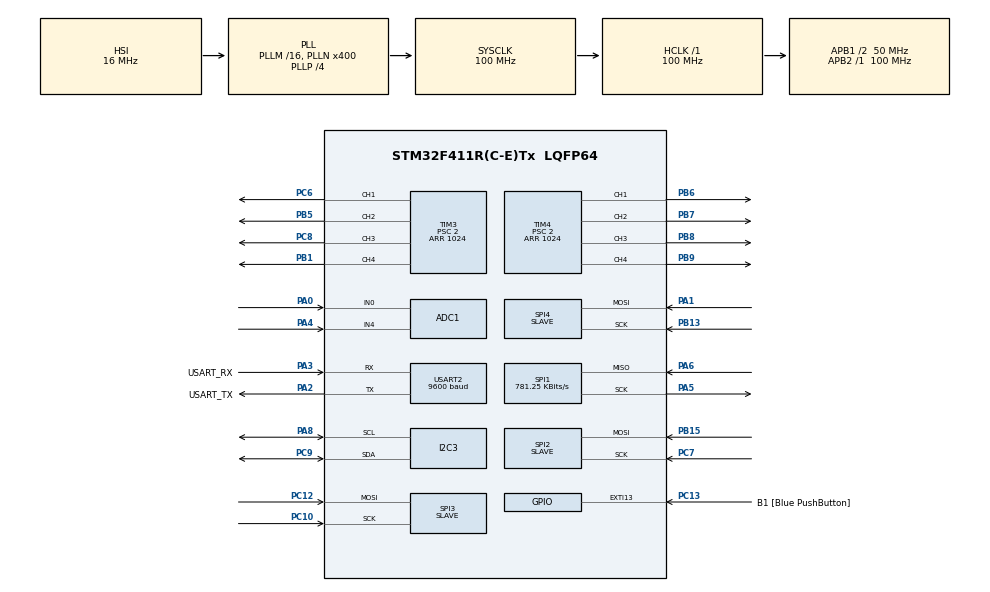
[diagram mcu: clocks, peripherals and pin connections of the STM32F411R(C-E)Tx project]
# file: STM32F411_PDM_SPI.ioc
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ADC1.Channel-0\#ChannelRegularConversion=ADC_CHANNEL_0
ADC1.NbrOfConversionFlag=1
ADC1.Rank-0\#ChannelRegularConversion=1
ADC1.SamplingTime-0\#ChannelRegularConversion=ADC_SAMPLETIME_3CYCLES
ADC1.master=1
Dma.I2C3_RX.4.Direction=DMA_PERIPH_TO_MEMORY
Dma.I2C3_RX.4.FIFOMode=DMA_FIFOMODE_DISABLE
Dma.I2C3_RX.4.Instance=DMA1_Stream1
Dma.I2C3_RX.4.MemDataAlignment=DMA_MDATAALIGN_BYTE
Dma.I2C3_RX.4.MemInc=DMA_MINC_ENABLE
Dma.I2C3_RX.4.Mode=DMA_NORMAL
Dma.I2C3_RX.4.PeriphDataAlignment=DMA_PDATAALIGN_BYTE
Dma.I2C3_RX.4.PeriphInc=DMA_PINC_DISABLE
Dma.I2C3_RX.4.Priority=DMA_PRIORITY_LOW
Dma.I2C3_TX.5.Direction=DMA_MEMORY_TO_PERIPH
Dma.I2C3_TX.5.FIFOMode=DMA_FIFOMODE_DISABLE
Dma.I2C3_TX.5.Instance=DMA1_Stream4
Dma.I2C3_TX.5.MemDataAlignment=DMA_MDATAALIGN_BYTE
Dma.I2C3_TX.5.MemInc=DMA_MINC_ENABLE
Dma.I2C3_TX.5.Mode=DMA_NORMAL
Dma.I2C3_TX.5.PeriphDataAlignment=DMA_PDATAALIGN_BYTE
Dma.I2C3_TX.5.PeriphInc=DMA_PINC_DISABLE
Dma.I2C3_TX.5.Priority=DMA_PRIORITY_LOW
Dma.Request0=SPI1_RX
Dma.Request1=SPI2_RX
Dma.Request2=SPI3_RX
Dma.Request3=SPI4_RX
Dma.Request4=I2C3_RX
Dma.Request5=I2C3_TX
Dma.Request6=USART2_RX
Dma.Request7=USART2_TX
Dma.SPI1_RX.0.Direction=DMA_PERIPH_TO_MEMORY
Dma.SPI1_RX.0.FIFOMode=DMA_FIFOMODE_DISABLE
Dma.SPI1_RX.0.Instance=DMA2_Stream0
Dma.SPI1_RX.0.MemDataAlignment=DMA_MDATAALIGN_BYTE
Dma.SPI1_RX.0.MemInc=DMA_MINC_ENABLE
Dma.SPI1_RX.0.Mode=DMA_CIRCULAR
Dma.SPI1_RX.0.PeriphDataAlignment=DMA_PDATAALIGN_BYTE
Dma.SPI1_RX.0.PeriphInc=DMA_PINC_DISABLE
Dma.SPI1_RX.0.Priority=DMA_PRIORITY_VERY_HIGH
Dma.SPI2_RX.1.Direction=DMA_PERIPH_TO_MEMORY
Dma.SPI2_RX.1.FIFOMode=DMA_FIFOMODE_DISABLE
Dma.SPI2_RX.1.Instance=DMA1_Stream3
Dma.SPI2_RX.1.MemDataAlignment=DMA_MDATAALIGN_BYTE
Dma.SPI2_RX.1.MemInc=DMA_MINC_ENABLE
Dma.SPI2_RX.1.Mode=DMA_CIRCULAR
Dma.SPI2_RX.1.PeriphDataAlignment=DMA_PDATAALIGN_BYTE
Dma.SPI2_RX.1.PeriphInc=DMA_PINC_DISABLE
Dma.SPI2_RX.1.Priority=DMA_PRIORITY_HIGH
Dma.SPI3_RX.2.Direction=DMA_PERIPH_TO_MEMORY
Dma.SPI3_RX.2.FIFOMode=DMA_FIFOMODE_DISABLE
Dma.SPI3_RX.2.Instance=DMA1_Stream0
Dma.SPI3_RX.2.MemDataAlignment=DMA_MDATAALIGN_BYTE
Dma.SPI3_RX.2.MemInc=DMA_MINC_ENABLE
Dma.SPI3_RX.2.Mode=DMA_CIRCULAR
Dma.SPI3_RX.2.PeriphDataAlignment=DMA_PDATAALIGN_BYTE
Dma.SPI3_RX.2.PeriphInc=DMA_PINC_DISABLE
Dma.SPI3_RX.2.Priority=DMA_PRIORITY_HIGH
Dma.SPI4_RX.3.Direction=DMA_PERIPH_TO_MEMORY
Dma.SPI4_RX.3.FIFOMode=DMA_FIFOMODE_DISABLE
Dma.SPI4_RX.3.Instance=DMA2_Stream3
Dma.SPI4_RX.3.MemDataAlignment=DMA_MDATAALIGN_BYTE
Dma.SPI4_RX.3.MemInc=DMA_MINC_ENABLE
Dma.SPI4_RX.3.Mode=DMA_CIRCULAR
Dma.SPI4_RX.3.PeriphDataAlignment=DMA_PDATAALIGN_BYTE
Dma.SPI4_RX.3.PeriphInc=DMA_PINC_DISABLE
Dma.SPI4_RX.3.Priority=DMA_PRIORITY_HIGH
Dma.USART2_RX.6.Direction=DMA_PERIPH_TO_MEMORY
Dma.USART2_RX.6.FIFOMode=DMA_FIFOMODE_DISABLE
Dma.USART2_RX.6.Instance=DMA1_Stream5
Dma.USART2_RX.6.MemDataAlignment=DMA_MDATAALIGN_BYTE
Dma.USART2_RX.6.MemInc=DMA_MINC_ENABLE
Dma.USART2_RX.6.Mode=DMA_NORMAL
Dma.USART2_RX.6.PeriphDataAlignment=DMA_PDATAALIGN_BYTE
Dma.USART2_RX.6.PeriphInc=DMA_PINC_DISABLE
Dma.USART2_RX.6.Priority=DMA_PRIORITY_LOW
Dma.USART2_TX.7.Direction=DMA_MEMORY_TO_PERIPH
Dma.USART2_TX.7.FIFOMode=DMA_FIFOMODE_DISABLE
Dma.USART2_TX.7.Instance=DMA1_Stream6
Dma.USART2_TX.7.MemDataAlignment=DMA_MDATAALIGN_BYTE
Dma.USART2_TX.7.MemInc=DMA_MINC_ENABLE
Dma.USART2_TX.7.Mode=DMA_NORMAL
Dma.USART2_TX.7.PeriphDataAlignment=DMA_PDATAALIGN_BYTE
Dma.USART2_TX.7.PeriphInc=DMA_PINC_DISABLE
Dma.USART2_TX.7.Priority=DMA_PRIORITY_LOW
I2C3.OwnAddress=0x60
Mcu.Family=STM32F4
Mcu.Name=STM32F411R(C-E)Tx
Mcu.Package=LQFP64
NVIC.DMA1_Stream0_IRQn=true\:0\:0\:false\:false\:true\:false\:true
NVIC.DMA1_Stream1_IRQn=true\:0\:0\:false\:false\:true\:false\:true
NVIC.DMA1_Stream3_IRQn=true\:0\:0\:false\:false\:true\:false\:true
NVIC.DMA1_Stream4_IRQn=true\:0\:0\:false\:false\:true\:false\:true
NVIC.DMA1_Stream5_IRQn=true\:0\:0\:false\:false\:true\:false\:true
NVIC.DMA1_Stream6_IRQn=true\:0\:0\:false\:false\:true\:false\:true
NVIC.DMA2_Stream0_IRQn=true\:0\:0\:false\:false\:true\:false\:true
NVIC.DMA2_Stream3_IRQn=true\:0\:0\:false\:false\:true\:false\:true
NVIC.I2C3_ER_IRQn=true\:0\:0\:false\:false\:true\:true\:true
NVIC.I2C3_EV_IRQn=true\:0\:0\:false\:false\:true\:true\:true
NVIC.PriorityGroup=NVIC_PRIORITYGROUP_0
NVIC.SPI1_IRQn=true\:0\:0\:false\:false\:true\:true\:true
NVIC.SPI2_IRQn=true\:0\:0\:false\:false\:true\:true\:true
NVIC.SPI3_IRQn=true\:0\:0\:false\:false\:true\:true\:true
NVIC.SPI4_IRQn=true\:0\:0\:false\:false\:true\:true\:true
NVIC.TIM3_IRQn=true\:0\:0\:false\:false\:true\:true\:true
NVIC.TIM4_IRQn=true\:0\:0\:false\:false\:true\:true\:true
NVIC.USART2_IRQn=true\:0\:0\:false\:false\:true\:true\:true
PA0-WKUP.Signal=ADCx_IN0
PA1.Mode=RX_Only_Simplex_Unidirect_Slave
PA1.Signal=SPI4_MOSI
PA13.GPIO_Label=TMS
PA13.Mode=Serial_Wire
PA13.Signal=SYS_JTMS-SWDIO
PA14.GPIO_Label=TCK
PA14.Mode=Serial_Wire
PA14.Signal=SYS_JTCK-SWCLK
PA2.GPIO_Label=USART_TX
PA2.Mode=Asynchronous
PA2.Signal=USART2_TX
PA3.GPIO_Label=USART_RX
PA3.Mode=Asynchronous
PA3.Signal=USART2_RX
PA4.Signal=ADCx_IN4
PA5.Mode=RX_Only_Simplex_Unidirect_Master
PA5.Signal=SPI1_SCK
PA6.Mode=RX_Only_Simplex_Unidirect_Master
PA6.Signal=SPI1_MISO
PA8.Mode=I2C
PA8.Signal=I2C3_SCL
PB1.Signal=S_TIM3_CH4
PB13.Mode=RX_Only_Simplex_Unidirect_Slave
PB13.Signal=SPI4_SCK
PB15.Mode=RX_Only_Simplex_Unidirect_Slave
PB15.Signal=SPI2_MOSI
PB3.GPIO_Label=SWO
PB3.Signal=SYS_JTDO-SWO
PB5.Signal=S_TIM3_CH2
PB6.Signal=S_TIM4_CH1
PB7.Signal=S_TIM4_CH2
PB8.Signal=S_TIM4_CH3
PB9.Signal=S_TIM4_CH4
PC10.Mode=RX_Only_Simplex_Unidirect_Slave
PC10.Signal=SPI3_SCK
PC12.Mode=RX_Only_Simplex_Unidirect_Slave
PC12.Signal=SPI3_MOSI
PC13-ANTI_TAMP.GPIO_Label=B1 [Blue PushButton]
PC13-ANTI_TAMP.GPIO_ModeDefaultEXTI=GPIO_MODE_IT_FALLING
PC13-ANTI_TAMP.Signal=GPXTI13
PC14-OSC32_IN.Signal=RCC_OSC32_IN
PC15-OSC32_OUT.Signal=RCC_OSC32_OUT
PC6.Signal=S_TIM3_CH1
PC7.Mode=RX_Only_Simplex_Unidirect_Slave
PC7.Signal=SPI2_SCK
PC8.Signal=S_TIM3_CH3
PC9.Mode=I2C
PC9.Signal=I2C3_SDA
PH0\ -\ OSC_IN.Signal=RCC_OSC_IN
PH1\ -\ OSC_OUT.Signal=RCC_OSC_OUT
ProjectManager.HeapSize=0x200
ProjectManager.StackSize=0x400
ProjectManager.TargetToolchain=SW4STM32
RCC.48MHZClocksFreq_Value=100000000
RCC.AHBFreq_Value=100000000
RCC.APB1CLKDivider=RCC_HCLK_DIV2
RCC.APB1Freq_Value=50000000
RCC.APB1TimFreq_Value=100000000
RCC.APB2Freq_Value=100000000
RCC.APB2TimFreq_Value=100000000
RCC.CortexFreq_Value=100000000
RCC.FLatency-AdvancedSettings=FLASH_LATENCY_3
RCC.HCLKFreq_Value=100000000
RCC.HSE_VALUE=8000000
RCC.HSI_VALUE=16000000
RCC.LSE_VALUE=32768
RCC.PLLN=400
RCC.PLLP=RCC_PLLP_DIV4
RCC.SYSCLKFreq_VALUE=100000000
RCC.SYSCLKSource=RCC_SYSCLKSOURCE_PLLCLK
RCC.VCOOutputFreq_Value=400000000
SH.ADCx_IN0.0=ADC1_IN0,IN0
SH.ADCx_IN4.0=ADC1_IN4,IN4
SH.S_TIM3_CH1.0=TIM3_CH1,PWM Generation1 CH1
SH.S_TIM3_CH2.0=TIM3_CH2,PWM Generation2 CH2
SH.S_TIM3_CH3.0=TIM3_CH3,PWM Generation3 CH3
SH.S_TIM3_CH4.0=TIM3_CH4,PWM Generation4 CH4
SH.S_TIM4_CH1.0=TIM4_CH1,PWM Generation1 CH1
SH.S_TIM4_CH2.0=TIM4_CH2,PWM Generation2 CH2
SH.S_TIM4_CH3.0=TIM4_CH3,PWM Generation3 CH3
SH.S_TIM4_CH4.0=TIM4_CH4,PWM Generation4 CH4
SPI1.BaudRatePrescaler=SPI_BAUDRATEPRESCALER_128
SPI1.CalculateBaudRate=781.25 KBits/s
SPI1.DataSize=SPI_DATASIZE_8BIT
SPI1.Direction=SPI_DIRECTION_2LINES_RXONLY
SPI1.FirstBit=SPI_FIRSTBIT_LSB
SPI1.Mode=SPI_MODE_MASTER
SPI1.VirtualType=VM_MASTER
SPI2.Direction=SPI_DIRECTION_2LINES_RXONLY
SPI2.FirstBit=SPI_FIRSTBIT_LSB
SPI2.Mode=SPI_MODE_SLAVE
SPI2.VirtualType=VM_SLAVE
SPI3.Direction=SPI_DIRECTION_2LINES_RXONLY
SPI3.FirstBit=SPI_FIRSTBIT_LSB
SPI3.Mode=SPI_MODE_SLAVE
SPI3.VirtualType=VM_SLAVE
SPI4.Direction=SPI_DIRECTION_2LINES_RXONLY
SPI4.FirstBit=SPI_FIRSTBIT_LSB
SPI4.Mode=SPI_MODE_SLAVE
SPI4.VirtualType=VM_SLAVE
TIM3.Channel-PWM\ Generation1\ CH1=TIM_CHANNEL_1
TIM3.Channel-PWM\ Generation2\ CH2=TIM_CHANNEL_2
TIM3.Channel-PWM\ Generation3\ CH3=TIM_CHANNEL_3
TIM3.Channel-PWM\ Generation4\ CH4=TIM_CHANNEL_4
TIM3.Period=1024
TIM3.Prescaler=2
TIM4.Channel-PWM\ Generation1\ CH1=TIM_CHANNEL_1
TIM4.Channel-PWM\ Generation2\ CH2=TIM_CHANNEL_2
TIM4.Channel-PWM\ Generation3\ CH3=TIM_CHANNEL_3
TIM4.Channel-PWM\ Generation4\ CH4=TIM_CHANNEL_4
TIM4.Period=1024
TIM4.Prescaler=2
USART2.BaudRate=9600
USART2.VirtualMode=VM_ASYNC
board=NUCLEO-F411RE

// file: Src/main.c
/* USER CODE BEGIN Header */
/**
  ******************************************************************************
  * @file           : main.c
  * @brief          : Main program body
  ******************************************************************************
  * @attention
  *
  * <h2><center>&copy; Copyright (c) 2020 STMicroelectronics.
  * All rights reserved.</center></h2>
  *
  * This software component is licensed by ST under BSD 3-Clause license,
  * the "License"; You may not use this file except in compliance with the
  * License. You may obtain a copy of the License at:
  *                        opensource.org/licenses/BSD-3-Clause
  *
  ******************************************************************************
  */
/* USER CODE END Header */
#include "main.h"

/* USER CODE BEGIN Includes */
#include <stdio.h>
#include <stdlib.h>
#include <stdbool.h>
#include <float.h>
#include "pdm_cicfilter.h"
#include "calc_direction.h"
#include "led_control.h"
#include "console.h"
#include "arm_math.h"
#include "arm_const_structs.h"
/* USER CODE END Includes */

/* USER CODE BEGIN PTD */
#define DEV_ADR		0x60
#define DEV_ID		0x43 //Acsii of C
#define I2CRXBUFFERSIZE 8

/* USER CODE END PTD */

ADC_HandleTypeDef hadc1;

I2C_HandleTypeDef hi2c3;
DMA_HandleTypeDef hdma_i2c3_rx;
DMA_HandleTypeDef hdma_i2c3_tx;

SPI_HandleTypeDef hspi1;
SPI_HandleTypeDef hspi2;
SPI_HandleTypeDef hspi3;
SPI_HandleTypeDef hspi4;
DMA_HandleTypeDef hdma_spi1_rx;
DMA_HandleTypeDef hdma_spi2_rx;
DMA_HandleTypeDef hdma_spi3_rx;
DMA_HandleTypeDef hdma_spi4_rx;

TIM_HandleTypeDef htim3;
TIM_HandleTypeDef htim4;

UART_HandleTypeDef huart2;
DMA_HandleTypeDef hdma_usart2_rx;
DMA_HandleTypeDef hdma_usart2_tx;

/* USER CODE BEGIN PV */
float FFT_SampleRate;
float calcDeg;
uint8_t UART2_Data[2];

uint8_t I2CRxBuffer[I2CRXBUFFERSIZE];
uint8_t I2CRegData[8];
uint8_t offset=0;
uint8_t	regOffset;

/* USER CODE END PV */

void SystemClock_Config(void);
static void MX_GPIO_Init(void);
static void MX_DMA_Init(void);
static void MX_SPI1_Init(void);
static void MX_USART2_UART_Init(void);
static void MX_SPI2_Init(void);
static void MX_SPI3_Init(void);
static void MX_SPI4_Init(void);
static void MX_TIM3_Init(void);
static void MX_TIM4_Init(void);
static void MX_ADC1_Init(void);
static void MX_I2C3_Init(void);

/* USER CODE BEGIN 0 */
int _write (int fd, char *ptr, int len)
{
  HAL_UART_Transmit(&huart2, (uint8_t*)ptr, len, 3000);
  return len;
}
void HAL_SPI_RxHalfCpltCallback(SPI_HandleTypeDef *hspi)
{
    if (hspi->Instance == SPI1)
    {
        PDM_DMA_Callback(false);
    }
}

void HAL_SPI_RxCpltCallback(SPI_HandleTypeDef *hspi)
{
    if(hspi->Instance == SPI1)
    {
        PDM_DMA_Callback(true);
    }
}

void HAL_UART_RxCpltCallback(UART_HandleTypeDef *UartHandle)
{

	if(UartHandle->Instance==USART2)
	{
		getConsoleString(UART2_Data);
		HAL_UART_Receive_DMA(&huart2, (uint8_t*)UART2_Data, 1);
	}

}

void HAL_I2C_AddrCallback(I2C_HandleTypeDef *hi2c, uint8_t TransferDirection, uint16_t AddrMatchCode)
{
	uint8_t res;
	if(AddrMatchCode == DEV_ADR)
	{
		if(TransferDirection == I2C_DIRECTION_TRANSMIT)
		{
			res=HAL_I2C_Slave_Seq_Receive_IT(&hi2c3, I2CRxBuffer, 1, I2C_FIRST_FRAME);//I2C_FIRST_FRAME
			if(res!=0)Error_Handler();
			regOffset=0;
		}
		else
		{
			res=HAL_I2C_Slave_Seq_Transmit_IT(&hi2c3, &I2CRegData[offset], sizeof(I2CRegData)-offset, I2C_LAST_FRAME);
			if(res!=0)Error_Handler();
			regOffset=0;
		}
	}
}

void HAL_I2C_SlaveRxCpltCallback(I2C_HandleTypeDef *hi2c)
{
	if(hi2c->Instance==hi2c3.Instance)
	{
		offset=I2CRxBuffer[0];
		if(offset>7)offset=7;

		if(regOffset<I2CRXBUFFERSIZE)
			regOffset++;
		HAL_I2C_Slave_Seq_Receive_IT(&hi2c3, &I2CRxBuffer[regOffset], 1, I2C_FIRST_AND_LAST_FRAME);
		if(offset==4 && regOffset>2)
		{
			uint16_t val16 = (uint16_t)I2CRxBuffer[1]*256+I2CRxBuffer[2];
			setActivityValue((float)val16*0.1f);
		}
	}
}

void HAL_I2C_AbortCpltCallback(I2C_HandleTypeDef *hi2c)
{

}

void HAL_I2C_SlaveTxCpltCallback(I2C_HandleTypeDef *hi2c)
{
	I2CRegData[ENUM_REG_REFRESH] = 0;
}
void HAL_I2C_ListenCpltCallback(I2C_HandleTypeDef *hi2c)
{
	HAL_I2C_EnableListen_IT(hi2c);
}
void HAL_I2C_ErrorCallback(I2C_HandleTypeDef *hi2c)
{
	__HAL_I2C_CLEAR_FLAG(hi2c, I2C_FLAG_AF);
}

/* USER CODE END 0 */

int main(void)
{

  /* MCU Configuration--------------------------------------------------------*/

  /* Reset of all peripherals, Initializes the Flash interface and the Systick. */
  HAL_Init();

  /* Configure the system clock */
  SystemClock_Config();

  /* Initialize all configured peripherals */
  MX_GPIO_Init();
  MX_DMA_Init();
  MX_SPI1_Init();
  MX_USART2_UART_Init();
  MX_SPI2_Init();
  MX_SPI3_Init();
  MX_SPI4_Init();
  MX_TIM3_Init();
  MX_TIM4_Init();
  MX_ADC1_Init();
  MX_I2C3_Init();
  /* USER CODE BEGIN 2 */
  	HAL_UART_Receive_DMA(&huart2, (uint8_t*)  UART2_Data, 1);
  	HAL_I2C_EnableListen_IT(&hi2c3);

	printf("\r\nSound Direction Sensor v1.1 (" __DATE__ ")\r\n");

	// Initialize Cic Filter for PDM MEMS MIC
	intiCicFilterAll();

	getAdcValue();
	//Pre Operation
	startPDM();
	HAL_Delay(100);
	disableDMA();
	HAL_Delay(100);

    // FFT init
    float SPI1_BaudRate = (float)SystemCoreClock / 1.0f / 128.0f;//SPI_BAUDRATEPRESCALER_128
    FFT_SampleRate = SPI1_BaudRate / DECIMATION_M;
    printf("Sampling Frq: %.1f kHz\r\n",FFT_SampleRate/1000.0);
    prepareWindow(FFT_SampleRate);
    initLed();

    //Set ID data for i2c reg
    I2CRegData[ENUM_REG_ID]=DEV_ID;

  /* USER CODE END 2 */

  /* Infinite loop */
  /* USER CODE BEGIN WHILE */
	while (1)
	{
		//getAdcValue();

		//Start Sampling
		enableDMA();
		isCalled_PDM_DMA_Callback = false;
		needs_CopyPDMbits = true;

		// Wait for Sampling End
		while (isCalled_PDM_DMA_Callback == false);

		// Get Analog Value from PDM input
		executeCicFilterAll();

		// Calc Sound Source Angle
		calcDeg = calcAngle();

		// Update LED
		updateLedValue(calcDeg);

		// Clear Value for Next Sampling
		clearBufferValue();

		disableDMA();
		HAL_Delay(20);//Must Need to wait over 9msec

    /* USER CODE END WHILE */

	}
}

void SystemClock_Config(void)
{
  RCC_OscInitTypeDef RCC_OscInitStruct = {0};
  RCC_ClkInitTypeDef RCC_ClkInitStruct = {0};

  /** Configure the main internal regulator output voltage
  */
  __HAL_RCC_PWR_CLK_ENABLE();
  __HAL_PWR_VOLTAGESCALING_CONFIG(PWR_REGULATOR_VOLTAGE_SCALE1);
  /** Initializes the RCC Oscillators according to the specified parameters
  * in the RCC_OscInitTypeDef structure.
  */
  RCC_OscInitStruct.OscillatorType = RCC_OSCILLATORTYPE_HSI;
  RCC_OscInitStruct.HSIState = RCC_HSI_ON;
  RCC_OscInitStruct.HSICalibrationValue = RCC_HSICALIBRATION_DEFAULT;
  RCC_OscInitStruct.PLL.PLLState = RCC_PLL_ON;
  RCC_OscInitStruct.PLL.PLLSource = RCC_PLLSOURCE_HSI;
  RCC_OscInitStruct.PLL.PLLM = 16;
  RCC_OscInitStruct.PLL.PLLN = 400;
  RCC_OscInitStruct.PLL.PLLP = RCC_PLLP_DIV4;
  RCC_OscInitStruct.PLL.PLLQ = 4;
  if (HAL_RCC_OscConfig(&RCC_OscInitStruct) != HAL_OK)
  {
    Error_Handler();
  }
  /** Initializes the CPU, AHB and APB buses clocks
  */
  RCC_ClkInitStruct.ClockType = RCC_CLOCKTYPE_HCLK|RCC_CLOCKTYPE_SYSCLK
                              |RCC_CLOCKTYPE_PCLK1|RCC_CLOCKTYPE_PCLK2;
  RCC_ClkInitStruct.SYSCLKSource = RCC_SYSCLKSOURCE_PLLCLK;
  RCC_ClkInitStruct.AHBCLKDivider = RCC_SYSCLK_DIV1;
  RCC_ClkInitStruct.APB1CLKDivider = RCC_HCLK_DIV2;
  RCC_ClkInitStruct.APB2CLKDivider = RCC_HCLK_DIV1;

  if (HAL_RCC_ClockConfig(&RCC_ClkInitStruct, FLASH_LATENCY_3) != HAL_OK)
  {
    Error_Handler();
  }
}

static void MX_ADC1_Init(void)
{

  ADC_ChannelConfTypeDef sConfig = {0};

  /** Configure the global features of the ADC (Clock, Resolution, Data Alignment and number of conversion)
  */
  hadc1.Instance = ADC1;
  hadc1.Init.ClockPrescaler = ADC_CLOCK_SYNC_PCLK_DIV4;
  hadc1.Init.Resolution = ADC_RESOLUTION_12B;
  hadc1.Init.ScanConvMode = DISABLE;
  hadc1.Init.ContinuousConvMode = DISABLE;
  hadc1.Init.DiscontinuousConvMode = DISABLE;
  hadc1.Init.ExternalTrigConvEdge = ADC_EXTERNALTRIGCONVEDGE_NONE;
  hadc1.Init.ExternalTrigConv = ADC_SOFTWARE_START;
  hadc1.Init.DataAlign = ADC_DATAALIGN_RIGHT;
  hadc1.Init.NbrOfConversion = 1;
  hadc1.Init.DMAContinuousRequests = DISABLE;
  hadc1.Init.EOCSelection = ADC_EOC_SINGLE_CONV;
  if (HAL_ADC_Init(&hadc1) != HAL_OK)
  {
    Error_Handler();
  }
  /** Configure for the selected ADC regular channel its corresponding rank in the sequencer and its sample time.
  */
  sConfig.Channel = ADC_CHANNEL_0;
  sConfig.Rank = 1;
  sConfig.SamplingTime = ADC_SAMPLETIME_3CYCLES;
  if (HAL_ADC_ConfigChannel(&hadc1, &sConfig) != HAL_OK)
  {
    Error_Handler();
  }

}

static void MX_I2C3_Init(void)
{

  hi2c3.Instance = I2C3;
  hi2c3.Init.ClockSpeed = 100000;
  hi2c3.Init.DutyCycle = I2C_DUTYCYCLE_2;
  hi2c3.Init.OwnAddress1 = DEV_ADR;
  hi2c3.Init.AddressingMode = I2C_ADDRESSINGMODE_7BIT;
  hi2c3.Init.DualAddressMode = I2C_DUALADDRESS_DISABLE;
  hi2c3.Init.OwnAddress2 = 0;
  hi2c3.Init.GeneralCallMode = I2C_GENERALCALL_DISABLE;
  hi2c3.Init.NoStretchMode = I2C_NOSTRETCH_DISABLE;
  if (HAL_I2C_Init(&hi2c3) != HAL_OK)
  {
    Error_Handler();
  }

}

static void MX_SPI1_Init(void)
{

  /* SPI1 parameter configuration*/
  hspi1.Instance = SPI1;
  hspi1.Init.Mode = SPI_MODE_MASTER;
  hspi1.Init.Direction = SPI_DIRECTION_2LINES_RXONLY;
  hspi1.Init.DataSize = SPI_DATASIZE_8BIT;
  hspi1.Init.CLKPolarity = SPI_POLARITY_LOW;
  hspi1.Init.CLKPhase = SPI_PHASE_1EDGE;
  hspi1.Init.NSS = SPI_NSS_SOFT;
  hspi1.Init.BaudRatePrescaler = SPI_BAUDRATEPRESCALER_128;
  hspi1.Init.FirstBit = SPI_FIRSTBIT_LSB;
  hspi1.Init.TIMode = SPI_TIMODE_DISABLE;
  hspi1.Init.CRCCalculation = SPI_CRCCALCULATION_DISABLE;
  hspi1.Init.CRCPolynomial = 10;
  if (HAL_SPI_Init(&hspi1) != HAL_OK)
  {
    Error_Handler();
  }

}

static void MX_SPI2_Init(void)
{

  /* SPI2 parameter configuration*/
  hspi2.Instance = SPI2;
  hspi2.Init.Mode = SPI_MODE_SLAVE;
  hspi2.Init.Direction = SPI_DIRECTION_2LINES_RXONLY;
  hspi2.Init.DataSize = SPI_DATASIZE_8BIT;
  hspi2.Init.CLKPolarity = SPI_POLARITY_LOW;
  hspi2.Init.CLKPhase = SPI_PHASE_1EDGE;
  hspi2.Init.NSS = SPI_NSS_SOFT;
  hspi2.Init.FirstBit = SPI_FIRSTBIT_LSB;
  hspi2.Init.TIMode = SPI_TIMODE_DISABLE;
  hspi2.Init.CRCCalculation = SPI_CRCCALCULATION_DISABLE;
  hspi2.Init.CRCPolynomial = 10;
  if (HAL_SPI_Init(&hspi2) != HAL_OK)
  {
    Error_Handler();
  }

}

static void MX_SPI3_Init(void)
{

  /* SPI3 parameter configuration*/
  hspi3.Instance = SPI3;
  hspi3.Init.Mode = SPI_MODE_SLAVE;
  hspi3.Init.Direction = SPI_DIRECTION_2LINES_RXONLY;
  hspi3.Init.DataSize = SPI_DATASIZE_8BIT;
  hspi3.Init.CLKPolarity = SPI_POLARITY_LOW;
  hspi3.Init.CLKPhase = SPI_PHASE_1EDGE;
  hspi3.Init.NSS = SPI_NSS_SOFT;
  hspi3.Init.FirstBit = SPI_FIRSTBIT_LSB;
  hspi3.Init.TIMode = SPI_TIMODE_DISABLE;
  hspi3.Init.CRCCalculation = SPI_CRCCALCULATION_DISABLE;
  hspi3.Init.CRCPolynomial = 10;
  if (HAL_SPI_Init(&hspi3) != HAL_OK)
  {
    Error_Handler();
  }

}

static void MX_SPI4_Init(void)
{

  /* SPI4 parameter configuration*/
  hspi4.Instance = SPI4;
  hspi4.Init.Mode = SPI_MODE_SLAVE;
  hspi4.Init.Direction = SPI_DIRECTION_2LINES_RXONLY;
  hspi4.Init.DataSize = SPI_DATASIZE_8BIT;
  hspi4.Init.CLKPolarity = SPI_POLARITY_LOW;
  hspi4.Init.CLKPhase = SPI_PHASE_1EDGE;
  hspi4.Init.NSS = SPI_NSS_SOFT;
  hspi4.Init.FirstBit = SPI_FIRSTBIT_LSB;
  hspi4.Init.TIMode = SPI_TIMODE_DISABLE;
  hspi4.Init.CRCCalculation = SPI_CRCCALCULATION_DISABLE;
  hspi4.Init.CRCPolynomial = 10;
  if (HAL_SPI_Init(&hspi4) != HAL_OK)
  {
    Error_Handler();
  }

}

static void MX_TIM3_Init(void)
{

  TIM_MasterConfigTypeDef sMasterConfig = {0};
  TIM_OC_InitTypeDef sConfigOC = {0};

  htim3.Instance = TIM3;
  htim3.Init.Prescaler = 2;
  htim3.Init.CounterMode = TIM_COUNTERMODE_UP;
  htim3.Init.Period = 1024;
  htim3.Init.ClockDivision = TIM_CLOCKDIVISION_DIV1;
  htim3.Init.AutoReloadPreload = TIM_AUTORELOAD_PRELOAD_DISABLE;
  if (HAL_TIM_PWM_Init(&htim3) != HAL_OK)
  {
    Error_Handler();
  }
  sMasterConfig.MasterOutputTrigger = TIM_TRGO_RESET;
  sMasterConfig.MasterSlaveMode = TIM_MASTERSLAVEMODE_DISABLE;
  if (HAL_TIMEx_MasterConfigSynchronization(&htim3, &sMasterConfig) != HAL_OK)
  {
    Error_Handler();
  }
  sConfigOC.OCMode = TIM_OCMODE_PWM1;
  sConfigOC.Pulse = 0;
  sConfigOC.OCPolarity = TIM_OCPOLARITY_HIGH;
  sConfigOC.OCFastMode = TIM_OCFAST_DISABLE;
  if (HAL_TIM_PWM_ConfigChannel(&htim3, &sConfigOC, TIM_CHANNEL_1) != HAL_OK)
  {
    Error_Handler();
  }
  if (HAL_TIM_PWM_ConfigChannel(&htim3, &sConfigOC, TIM_CHANNEL_2) != HAL_OK)
  {
    Error_Handler();
  }
  if (HAL_TIM_PWM_ConfigChannel(&htim3, &sConfigOC, TIM_CHANNEL_3) != HAL_OK)
  {
    Error_Handler();
  }
  if (HAL_TIM_PWM_ConfigChannel(&htim3, &sConfigOC, TIM_CHANNEL_4) != HAL_OK)
  {
    Error_Handler();
  }
  HAL_TIM_MspPostInit(&htim3);

}

static void MX_TIM4_Init(void)
{

  TIM_MasterConfigTypeDef sMasterConfig = {0};
  TIM_OC_InitTypeDef sConfigOC = {0};

  htim4.Instance = TIM4;
  htim4.Init.Prescaler = 2;
  htim4.Init.CounterMode = TIM_COUNTERMODE_UP;
  htim4.Init.Period = 1024;
  htim4.Init.ClockDivision = TIM_CLOCKDIVISION_DIV1;
  htim4.Init.AutoReloadPreload = TIM_AUTORELOAD_PRELOAD_DISABLE;
  if (HAL_TIM_PWM_Init(&htim4) != HAL_OK)
  {
    Error_Handler();
  }
  sMasterConfig.MasterOutputTrigger = TIM_TRGO_RESET;
  sMasterConfig.MasterSlaveMode = TIM_MASTERSLAVEMODE_DISABLE;
  if (HAL_TIMEx_MasterConfigSynchronization(&htim4, &sMasterConfig) != HAL_OK)
  {
    Error_Handler();
  }
  sConfigOC.OCMode = TIM_OCMODE_PWM1;
  sConfigOC.Pulse = 0;
  sConfigOC.OCPolarity = TIM_OCPOLARITY_HIGH;
  sConfigOC.OCFastMode = TIM_OCFAST_DISABLE;
  if (HAL_TIM_PWM_ConfigChannel(&htim4, &sConfigOC, TIM_CHANNEL_1) != HAL_OK)
  {
    Error_Handler();
  }
  if (HAL_TIM_PWM_ConfigChannel(&htim4, &sConfigOC, TIM_CHANNEL_2) != HAL_OK)
  {
    Error_Handler();
  }
  if (HAL_TIM_PWM_ConfigChannel(&htim4, &sConfigOC, TIM_CHANNEL_3) != HAL_OK)
  {
    Error_Handler();
  }
  if (HAL_TIM_PWM_ConfigChannel(&htim4, &sConfigOC, TIM_CHANNEL_4) != HAL_OK)
  {
    Error_Handler();
  }
  HAL_TIM_MspPostInit(&htim4);

}

static void MX_USART2_UART_Init(void)
{

  huart2.Instance = USART2;
  huart2.Init.BaudRate = 9600;
  huart2.Init.WordLength = UART_WORDLENGTH_8B;
  huart2.Init.StopBits = UART_STOPBITS_1;
  huart2.Init.Parity = UART_PARITY_NONE;
  huart2.Init.Mode = UART_MODE_TX_RX;
  huart2.Init.HwFlowCtl = UART_HWCONTROL_NONE;
  huart2.Init.OverSampling = UART_OVERSAMPLING_16;
  if (HAL_UART_Init(&huart2) != HAL_OK)
  {
    Error_Handler();
  }

}

static void MX_DMA_Init(void)
{

  /* DMA controller clock enable */
  __HAL_RCC_DMA2_CLK_ENABLE();
  __HAL_RCC_DMA1_CLK_ENABLE();

  /* DMA interrupt init */
  /* DMA1_Stream0_IRQn interrupt configuration */
  HAL_NVIC_SetPriority(DMA1_Stream0_IRQn, 0, 0);
  HAL_NVIC_EnableIRQ(DMA1_Stream0_IRQn);
  /* DMA1_Stream1_IRQn interrupt configuration */
  HAL_NVIC_SetPriority(DMA1_Stream1_IRQn, 0, 0);
  HAL_NVIC_EnableIRQ(DMA1_Stream1_IRQn);
  /* DMA1_Stream3_IRQn interrupt configuration */
  HAL_NVIC_SetPriority(DMA1_Stream3_IRQn, 0, 0);
  HAL_NVIC_EnableIRQ(DMA1_Stream3_IRQn);
  /* DMA1_Stream4_IRQn interrupt configuration */
  HAL_NVIC_SetPriority(DMA1_Stream4_IRQn, 0, 0);
  HAL_NVIC_EnableIRQ(DMA1_Stream4_IRQn);
  /* DMA1_Stream5_IRQn interrupt configuration */
  HAL_NVIC_SetPriority(DMA1_Stream5_IRQn, 0, 0);
  HAL_NVIC_EnableIRQ(DMA1_Stream5_IRQn);
  /* DMA1_Stream6_IRQn interrupt configuration */
  HAL_NVIC_SetPriority(DMA1_Stream6_IRQn, 0, 0);
  HAL_NVIC_EnableIRQ(DMA1_Stream6_IRQn);
  /* DMA2_Stream0_IRQn interrupt configuration */
  HAL_NVIC_SetPriority(DMA2_Stream0_IRQn, 0, 0);
  HAL_NVIC_EnableIRQ(DMA2_Stream0_IRQn);
  /* DMA2_Stream3_IRQn interrupt configuration */
  HAL_NVIC_SetPriority(DMA2_Stream3_IRQn, 0, 0);
  HAL_NVIC_EnableIRQ(DMA2_Stream3_IRQn);

}

static void MX_GPIO_Init(void)
{
  GPIO_InitTypeDef GPIO_InitStruct = {0};

  /* GPIO Ports Clock Enable */
  __HAL_RCC_GPIOC_CLK_ENABLE();
  __HAL_RCC_GPIOH_CLK_ENABLE();
  __HAL_RCC_GPIOA_CLK_ENABLE();
  __HAL_RCC_GPIOB_CLK_ENABLE();

  /*Configure GPIO pin : B1_Pin */
  GPIO_InitStruct.Pin = B1_Pin;
  GPIO_InitStruct.Mode = GPIO_MODE_IT_FALLING;
  GPIO_InitStruct.Pull = GPIO_NOPULL;
  HAL_GPIO_Init(B1_GPIO_Port, &GPIO_InitStruct);

}

void Error_Handler(void)
{
}

/************************ (C) COPYRIGHT STMicroelectronics *****END OF FILE****/
